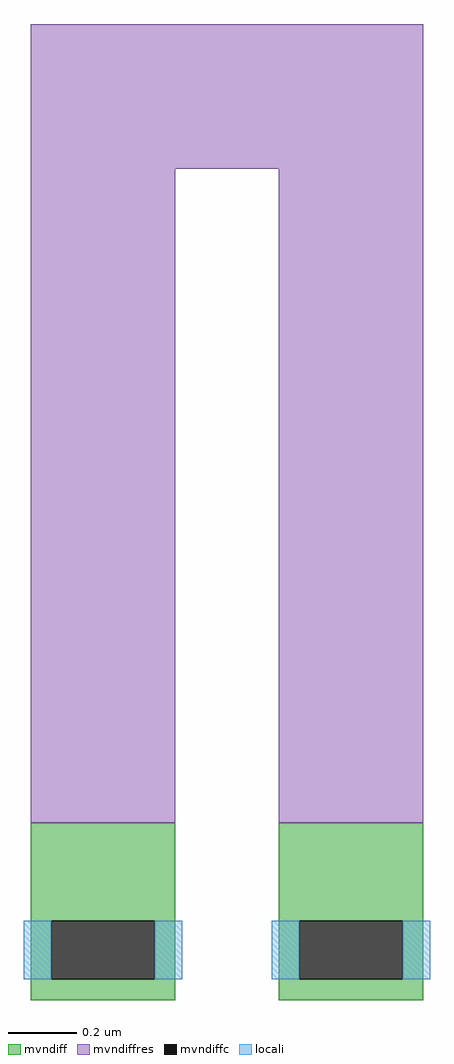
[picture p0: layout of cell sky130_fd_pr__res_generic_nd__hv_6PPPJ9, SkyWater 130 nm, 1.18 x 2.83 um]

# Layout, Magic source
magic
tech sky130A
magscale 1 2
<< mvndiff >>
rect -114 -237 -30 -180
rect -114 -271 -102 -237
rect -42 -271 -30 -237
rect -114 -283 -30 -271
rect 30 -237 114 -180
rect 30 -271 42 -237
rect 102 -271 114 -237
rect 30 -283 114 -271
<< mvndiffc >>
rect -102 -271 -42 -237
rect 42 -271 102 -237
<< mvndiffres >>
rect -114 200 114 284
rect -114 -180 -30 200
rect 30 -180 114 200
<< locali >>
rect -118 -271 -102 -237
rect -42 -271 -26 -237
rect 26 -271 42 -237
rect 102 -271 118 -237
<< properties >>
string gencell sky130_fd_pr__res_generic_nd__hv
string library sky130
string parameters w 0.42 l 2.1 m 1 nx 2 wmin 0.42 lmin 2.10 rho 120 val 1.5k dummy 0 dw 0.02 term 0.0 sterm 0.0 caplen 0.4 snake 1 guard 0 glc 1 grc 1 gtc 1 gbc 1 roverlap 0 endcov 100 full_metal 1 vias 1 viagb 0 viagt 0 viagl 0 viagr 0
<< end >>
